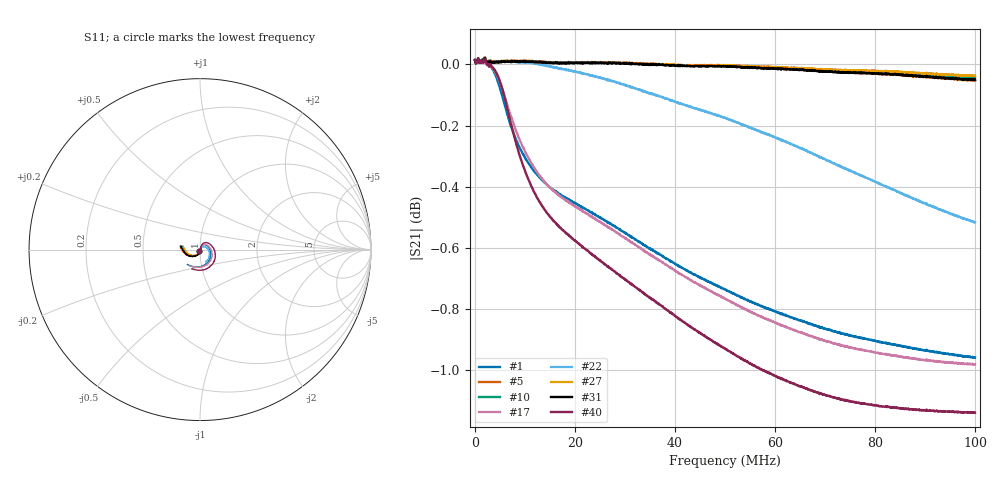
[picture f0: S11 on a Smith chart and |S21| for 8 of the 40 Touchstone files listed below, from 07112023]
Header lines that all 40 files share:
!Agilent Technologies,E5061B,MY49102235,A.02.00
!Data & Calibration Information:
!Freq	S11:SOLT2(ON)	S21:SOLT2(ON)	S12:SOLT2(ON)	S22:SOLT2(ON)
# Hz S RI R 50
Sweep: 5 Hz to 100 MHz
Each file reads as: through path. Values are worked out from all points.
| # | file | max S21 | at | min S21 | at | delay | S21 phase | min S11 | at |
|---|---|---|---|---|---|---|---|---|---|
| 1 | L74087BAN1_0A_AVG.S2P | 0.02 dB | 625.4 kHz | -1.0 dB | 99.81 MHz | 2.84 ns | -54 deg at 50.03 MHz | -45.4 dB | 500.3 kHz |
| 2 | L74087BAN1_5A_AVG.S2P | 0.02 dB | 625.4 kHz | -1.1 dB | 97.5 MHz | 2.87 ns | -55 deg at 50.03 MHz | -45.2 dB | 250.2 kHz |
| 3 | L74087BAN1_10A_AVG.S2P | 0.02 dB | 2.001 MHz | -0.1 dB | 99.75 MHz | 2.96 ns | -53 deg at 50.03 MHz | -50.7 dB | 2.126 MHz |
| 4 | L74087BAN1_15A_AVG.S2P | 0.02 dB | 2.001 MHz | 0.0 dB | 99.75 MHz | 2.8 ns | -51 deg at 50.03 MHz | -48.3 dB | 1.939 MHz |
| 5 | L74087BAN1_20A_AVG.S2P | 0.02 dB | 1.939 MHz | -0.1 dB | 99.75 MHz | 2.78 ns | -50 deg at 50.03 MHz | -48.1 dB | 1.001 MHz |
| 6 | L74087BAN1_25A_AVG.S2P | 0.02 dB | 1.939 MHz | -0.1 dB | 99.75 MHz | 2.78 ns | -50 deg at 50.03 MHz | -48.2 dB | 1.001 MHz |
| 7 | L74087BAN3_0A_AVG.S2P | 0.02 dB | 625.4 kHz | -1.0 dB | 99.81 MHz | 2.84 ns | -54 deg at 50.03 MHz | -45.4 dB | 500.3 kHz |
| 8 | L74087BAN3_5A_AVG.S2P | 0.02 dB | 625.4 kHz | -1.1 dB | 96.44 MHz | 2.87 ns | -55 deg at 50.03 MHz | -45.1 dB | 250.2 kHz |
| 9 | L74087BAN3_10A_AVG.S2P | 0.02 dB | 2.001 MHz | 0.0 dB | 99.75 MHz | 2.92 ns | -53 deg at 50.03 MHz | -50.5 dB | 2.126 MHz |
| 10 | L74087BAN3_15A_AVG.S2P | 0.02 dB | 2.001 MHz | 0.0 dB | 99.75 MHz | 2.8 ns | -50 deg at 50.03 MHz | -48.4 dB | 1.939 MHz |
| 11 | L74087BAN3_20A_AVG.S2P | 0.02 dB | 1.939 MHz | -0.1 dB | 99.75 MHz | 2.78 ns | -50 deg at 50.03 MHz | -48.2 dB | 1.001 MHz |
| 12 | L74087BAN3_25A_AVG.S2P | 0.02 dB | 2.001 MHz | -0.1 dB | 99.75 MHz | 2.77 ns | -50 deg at 50.03 MHz | -48.2 dB | 1.001 MHz |
| 13 | L74087BAN4_0A_AVG.S2P | 0.02 dB | 625.4 kHz | -1.0 dB | 99.81 MHz | 2.84 ns | -54 deg at 50.03 MHz | -45.3 dB | 500.3 kHz |
| 14 | L74087BAN4_1A_AVG.S2P | 0.02 dB | 625.4 kHz | -1.0 dB | 99.81 MHz | 2.85 ns | -54 deg at 50.03 MHz | -45.3 dB | 500.3 kHz |
| 15 | L74087BAN4_2A_AVG.S2P | 0.02 dB | 625.4 kHz | -1.0 dB | 99.75 MHz | 2.86 ns | -54 deg at 50.03 MHz | -45.3 dB | 500.3 kHz |
| 16 | L74087BAN4_3A_AVG.S2P | 0.02 dB | 625.4 kHz | -1.0 dB | 99.75 MHz | 2.86 ns | -54 deg at 50.03 MHz | -45.3 dB | 500.3 kHz |
| 17 | L74087BAN4_4A_AVG.S2P | 0.02 dB | 625.4 kHz | -1.0 dB | 99.75 MHz | 2.87 ns | -54 deg at 50.03 MHz | -45.4 dB | 500.3 kHz |
| 18 | L74087BAN4_5A_AVG.S2P | 0.02 dB | 625.4 kHz | -1.1 dB | 96.44 MHz | 2.87 ns | -55 deg at 50.03 MHz | -45.1 dB | 250.2 kHz |
| 19 | L74087BAN4_6A_AVG.S2P | 0.02 dB | 625.4 kHz | -1.1 dB | 92.68 MHz | 2.88 ns | -55 deg at 50.03 MHz | -45.4 dB | 500.3 kHz |
| 20 | L74087BAN4_7A_AVG.S2P | 0.02 dB | 625.4 kHz | -1.1 dB | 94 MHz | 2.91 ns | -56 deg at 50.03 MHz | -45.7 dB | 500.3 kHz |
| 21 | L74087BAN4_8A_AVG.S2P | 0.02 dB | 2.001 MHz | -1.1 dB | 99.75 MHz | 2.99 ns | -57 deg at 50.03 MHz | -46.3 dB | 500.3 kHz |
| 22 | L74087BAN4_9A_AVG.S2P | 0.02 dB | 2.001 MHz | -0.5 dB | 99.81 MHz | 3.07 ns | -56 deg at 50.03 MHz | -49.9 dB | 2.126 MHz |
| 23 | L74087BAN4_10A_AVG.S2P | 0.02 dB | 2.001 MHz | -0.1 dB | 99.75 MHz | 2.96 ns | -53 deg at 50.03 MHz | -51.0 dB | 2.126 MHz |
| 24 | L74087BAN4_11A_AVG.S2P | 0.02 dB | 1.939 MHz | 0.0 dB | 99.75 MHz | 2.88 ns | -52 deg at 50.03 MHz | -49.8 dB | 2.126 MHz |
| 25 | L74087BAN4_12A_AVG.S2P | 0.02 dB | 2.001 MHz | 0.0 dB | 99.75 MHz | 2.85 ns | -51 deg at 50.03 MHz | -49.2 dB | 2.126 MHz |
| 26 | L74087BAN4_13A_AVG.S2P | 0.02 dB | 1.939 MHz | 0.0 dB | 99.75 MHz | 2.82 ns | -51 deg at 50.03 MHz | -48.7 dB | 1.939 MHz |
| 27 | L74087BAN4_14A_AVG.S2P | 0.02 dB | 1.939 MHz | 0.0 dB | 99.75 MHz | 2.81 ns | -51 deg at 50.03 MHz | -48.5 dB | 1.939 MHz |
| 28 | L74087BAN4_15A_AVG.S2P | 0.02 dB | 2.001 MHz | 0.0 dB | 99.75 MHz | 2.8 ns | -51 deg at 50.03 MHz | -48.5 dB | 1.939 MHz |
| 29 | L74087BAN4_16A_AVG.S2P | 0.02 dB | 1.939 MHz | 0.0 dB | 99.75 MHz | 2.8 ns | -50 deg at 50.03 MHz | -48.3 dB | 1.939 MHz |
| 30 | L74087BAN4_17A_AVG.S2P | 0.02 dB | 2.001 MHz | 0.0 dB | 99.75 MHz | 2.79 ns | -50 deg at 50.03 MHz | -48.3 dB | 1.001 MHz |
| 31 | L74087BAN4_18A_AVG.S2P | 0.02 dB | 1.939 MHz | -0.1 dB | 99.75 MHz | 2.79 ns | -50 deg at 50.03 MHz | -48.3 dB | 1.001 MHz |
| 32 | L74087BAN4_19A_AVG.S2P | 0.02 dB | 1.939 MHz | -0.1 dB | 99.75 MHz | 2.79 ns | -50 deg at 50.03 MHz | -48.3 dB | 1.001 MHz |
| 33 | L74087BAN4_20A_AVG.S2P | 0.02 dB | 1.939 MHz | -0.1 dB | 99.75 MHz | 2.78 ns | -50 deg at 50.03 MHz | -48.4 dB | 1.001 MHz |
| 34 | L74087BAN4_21A_AVG.S2P | 0.02 dB | 2.001 MHz | -0.1 dB | 99.75 MHz | 2.78 ns | -50 deg at 50.03 MHz | -48.3 dB | 1.001 MHz |
| 35 | L74087BAN4_22A_AVG.S2P | 0.02 dB | 1.939 MHz | -0.1 dB | 99.75 MHz | 2.78 ns | -50 deg at 50.03 MHz | -48.2 dB | 1.001 MHz |
| 36 | L74087BAN4_23A_AVG.S2P | 0.02 dB | 1.939 MHz | -0.1 dB | 99.75 MHz | 2.78 ns | -50 deg at 50.03 MHz | -48.3 dB | 1.001 MHz |
| 37 | L74087BAN4_24A_AVG.S2P | 0.02 dB | 1.939 MHz | -0.1 dB | 99.75 MHz | 2.78 ns | -50 deg at 50.03 MHz | -48.2 dB | 1.001 MHz |
| 38 | L74087BAN4_25A_AVG.S2P | 0.02 dB | 2.001 MHz | -0.1 dB | 99.75 MHz | 2.78 ns | -50 deg at 50.03 MHz | -48.3 dB | 1.001 MHz |
| 39 | L74504BBN1_0A_AVG.S2P | 0.02 dB | 625.4 kHz | -1.0 dB | 99.81 MHz | 2.85 ns | -54 deg at 50.03 MHz | -45.1 dB | 250.2 kHz |
| 40 | L74504BBN1_5A_AVG.S2P | 0.02 dB | 625.4 kHz | -1.1 dB | 99.81 MHz | 2.88 ns | -55 deg at 50.03 MHz | -45.1 dB | 250.2 kHz |
